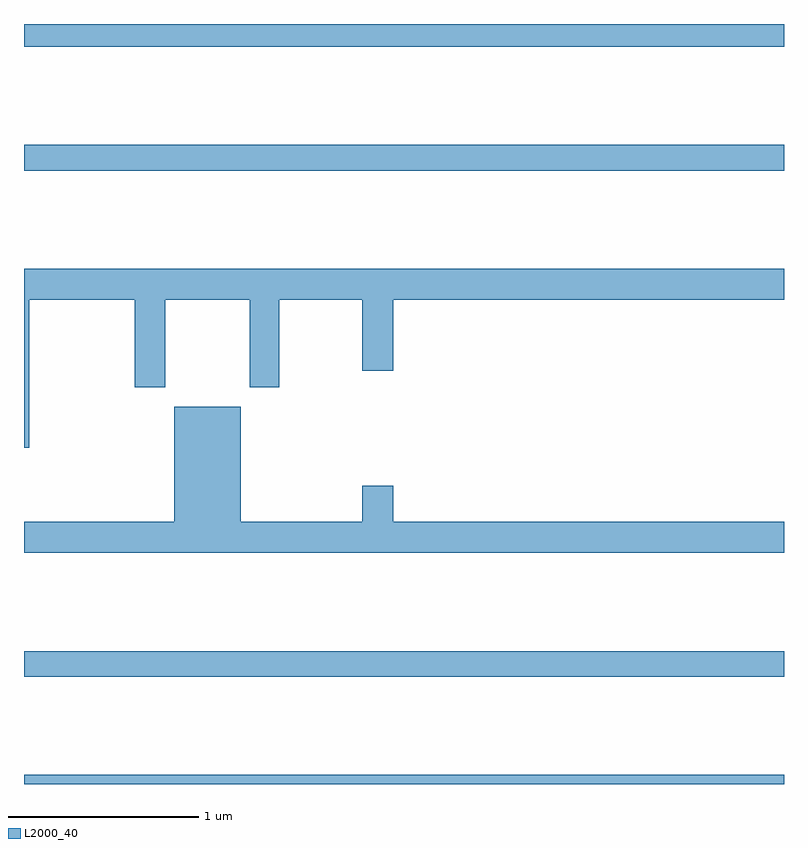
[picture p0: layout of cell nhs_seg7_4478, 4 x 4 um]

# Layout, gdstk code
import gdstk
lib = gdstk.Library(unit=1e-6, precision=1e-09)
def R(c, l, rs):  # rectangles x0, y0, x1, y1
    for r in rs: c.add(gdstk.rectangle(r[:2], r[2:], *l))
def P(c, l, *ps):  # polygons
    for p in ps: c.add(gdstk.Polygon(p, *l))
L2000_40 = (2000, 40)

nhs_seg7_4478 = lib.new_cell('nhs_seg7_4478')
R(nhs_seg7_4478, L2000_40, [(391,1066,395,1066.048), (391,1066.564,395,1066.7), (391,1069.228,395,1069.364), (391,1069.88,395,1070)])
P(nhs_seg7_4478, L2000_40, [(391.028,1068.548),(391.583,1068.548),(391.583,1068.087),(391.743,1068.087),(391.743,1068.548),(392.188,1068.548),(392.188,1068.087),(392.343,1068.087),(392.343,1068.548),(392.78,1068.548),(392.78,1068.174),(392.944,1068.174),(392.944,1068.548),(395,1068.548),(395,1068.712),(391,1068.712),(391,1067.769),(391.028,1067.769)],
  [(395,1067.38),(392.944,1067.38),(392.944,1067.569),(392.78,1067.569),(392.78,1067.38),(392.14,1067.38),(392.14,1067.986),(391.79,1067.986),(391.79,1067.38),(391,1067.38),(391,1067.216),(395,1067.216)])

lib.write_gds('nhs_seg7_4478.gds')
